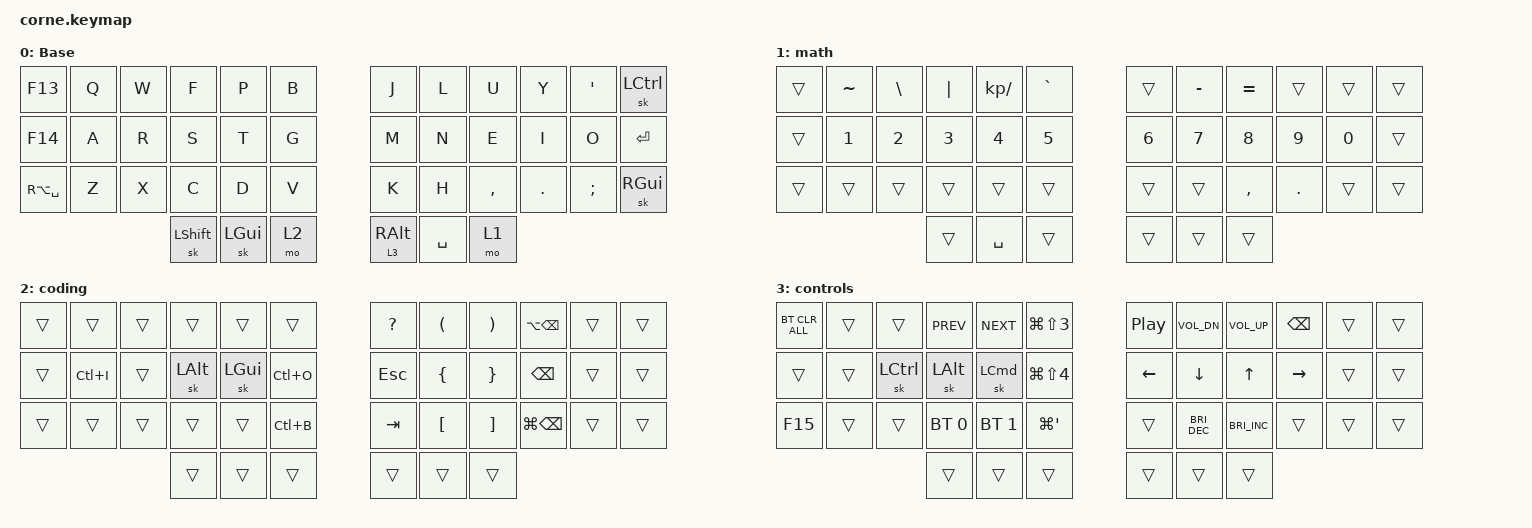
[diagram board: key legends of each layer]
/*
 * Copyright (c) 2020 The ZMK Contributors
 *
 * SPDX-License-Identifier: MIT
 */

#include <behaviors.dtsi>
#include <dt-bindings/zmk/bt.h>
#include <dt-bindings/zmk/keys.h>

&sk { quick-release; };

/ {
    macros {
        layer2cmd: layer2cmd {
            compatible = "zmk,behavior-macro";
            #binding-cells = <0>;
            bindings = <&kp LGUI &mo 1>;
            label = "LAYER2CMD";
        };
    };

    behaviors {
        kp_tap: kp_tap {
            compatible = "zmk,behavior-hold-tap";
            label = "KP_TAP";
            bindings = <&kp>, <&kp>;

            #binding-cells = <2>;
            tapping-term-ms = <200>;
            quick-tap-ms = <200>;
            flavor = "balanced";
            require-prior-idle-ms = <150>;
        };

        mohold: mohold {
            compatible = "zmk,behavior-hold-tap";
            label = "MOHOLD";
            bindings = <&mo>, <&kp>;

            #binding-cells = <2>;
            tapping-term-ms = <200>;
            quick-tap-ms = <200>;
            flavor = "tap-preferred";
        };

        numcmd: numcmd {
            compatible = "zmk,behavior-hold-tap";
            label = "NUMCMD";
            bindings = <&layer2cmd>, <&kp>;

            #binding-cells = <2>;
            tapping-term-ms = <200>;
            quick-tap-ms = <200>;
            flavor = "tap-preferred";
        };

        mosk: mosk {
            compatible = "zmk,behavior-hold-tap";
            #binding-cells = <2>;
            bindings = <&mo>, <&sk>;

            tapping-term-ms = <200>;
            flavor = "balanced";
        };

        kp_sk: kp_sk {
            compatible = "zmk,behavior-hold-tap";
            label = "KP_SK";
            #binding-cells = <2>;
            tapping-term-ms = <200>;
            quick-tap-ms = <200>;
            flavor = "balanced";
            require-prior-idle-ms = <150>;
            bindings = <&sk>, <&kp>;
        };
    };

    keymap {
        compatible = "zmk,keymap";

        default_layer {
            display-name = "Base";
            bindings = <
&kp F13        &kp Q  &kp W  &kp F           &kp P     &kp B    &kp J         &kp L      &kp U      &kp Y       &kp APOS       &sk LCTRL
&kp F14        &kp A  &kp R  &kp S           &kp T     &kp G    &kp M         &kp N      &kp E      &kp I       &kp O          &kp ENTER
&kp RA(SPACE)  &kp Z  &kp X  &kp C           &kp D     &kp V    &kp K         &kp H      &kp COMMA  &kp PERIOD  &kp SEMICOLON  &sk RGUI
                             &sk LEFT_SHIFT  &sk LGUI  &mo 2    &mosk 3 RALT  &kp SPACE  &mo 1
            >;
        };

        math {
            bindings = <
&trans  &kp TILDE  &kp BACKSLASH  &kp PIPE  &kp KP_DIVIDE  &kp GRAVE    &trans  &kp MINUS  &kp EQUAL  &trans      &trans  &trans
&trans  &kp N1     &kp N2         &kp N3    &kp N4         &kp N5       &kp N6  &kp N7     &kp N8     &kp N9      &kp N0  &trans
&trans  &trans     &trans         &trans    &trans         &trans       &trans  &trans     &kp COMMA  &kp PERIOD  &trans  &trans
                                  &trans    &kp SPACE      &trans       &trans  &trans     &trans
            >;
        };

        coding {
            bindings = <
&trans  &trans     &trans  &trans        &trans    &trans       &kp QUESTION  &kp LEFT_PARENTHESIS  &kp RIGHT_PARENTHESIS  &kp LA(BACKSPACE)  &trans  &trans
&trans  &kp LC(I)  &trans  &sk LEFT_ALT  &sk LGUI  &kp LC(O)    &kp ESCAPE    &kp LEFT_BRACE        &kp RIGHT_BRACE        &kp BACKSPACE      &trans  &trans
&trans  &trans     &trans  &trans        &trans    &kp LC(B)    &kp TAB       &kp LEFT_BRACKET      &kp RIGHT_BRACKET      &kp LG(BACKSPACE)  &trans  &trans
                           &trans        &trans    &trans       &trans        &trans                &trans
            >;
        };

        controls {
            bindings = <
&bt BT_CLR_ALL  &trans  &trans            &kp C_PREV    &kp C_NEXT        &kp LG(LS(NUMBER_3))    &kp C_PP  &kp C_VOL_DN          &kp C_VOLUME_UP       &kp BACKSPACE  &trans  &trans
&trans          &trans  &sk LEFT_CONTROL  &sk LEFT_ALT  &sk LEFT_COMMAND  &kp LG(LS(NUMBER_4))    &kp LEFT  &kp DOWN              &kp UP                &kp RIGHT      &trans  &trans
&kp F15         &trans  &trans            &bt BT_SEL 0  &bt BT_SEL 1      &kp LG(SQT)             &trans    &kp C_BRIGHTNESS_DEC  &kp C_BRIGHTNESS_INC  &trans         &trans  &trans
                                          &trans        &trans            &trans                  &trans    &trans                &trans
            >;
        };
    };
};
